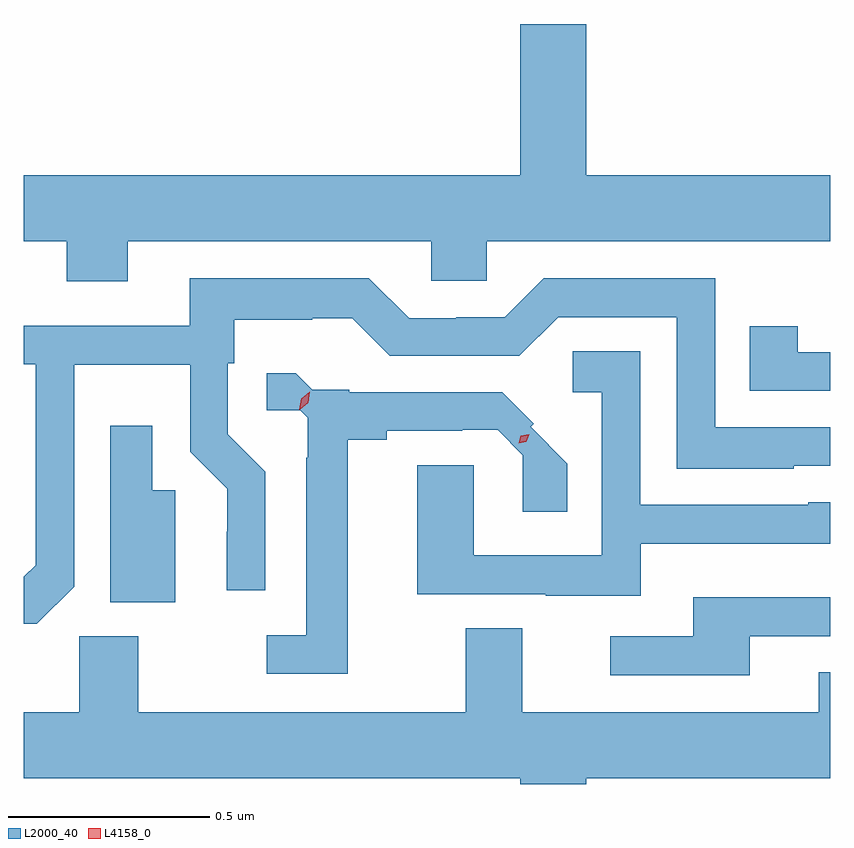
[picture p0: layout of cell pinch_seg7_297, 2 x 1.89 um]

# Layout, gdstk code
import gdstk
lib = gdstk.Library(unit=1e-6, precision=1e-09)
def P(c, l, *ps):  # polygons
    for p in ps: c.add(gdstk.Polygon(p, *l))
L2000_40 = (2000, 40)
L4158_0 = (4158, 0)

pinch_seg7_297 = lib.new_cell('pinch_seg7_297')
P(pinch_seg7_297, L2000_40, [(619.579,1057.892),(620.331,1057.892),(620.331,1057.794),(620.469,1057.794),(620.469,1057.892),(621.321,1057.892),(621.321,1058.056),(620.716,1058.056),(620.716,1058.431),(620.552,1058.431),(620.552,1058.056),(619.321,1058.056),(619.321,1057.892),(619.427,1057.892),(619.427,1057.793),(619.579,1057.793)],
  [(619.446,1057.035),(619.446,1057.586),(619.734,1057.586),(619.734,1057.37),(619.826,1057.278),(619.826,1057.172),(619.824,1057.172),(619.824,1057.026),(619.92,1057.026),(619.92,1057.32),(619.827,1057.413),(619.827,1057.59),(619.843,1057.59),(619.843,1057.697),(620.036,1057.697),(620.036,1057.701),(620.136,1057.701),(620.229,1057.608),(620.55,1057.608),(620.646,1057.704),(620.94,1057.704),(620.94,1057.328),(621.231,1057.328),(621.231,1057.335),(621.321,1057.335),(621.321,1057.431),(621.036,1057.431),(621.036,1057.8),(620.61,1057.8),(620.514,1057.704),(620.394,1057.704),(620.394,1057.701),(620.277,1057.701),(620.177,1057.801),(619.733,1057.801),(619.733,1057.683),(619.321,1057.683),(619.321,1057.587),(619.35,1057.587),(619.35,1057.089),(619.321,1057.06),(619.321,1056.943),(619.353,1056.943)],
  [(621.321,1057.617),(621.24,1057.617),(621.24,1057.681),(621.121,1057.681),(621.121,1057.521),(621.321,1057.521)],
  [(620.851,1057.142),(621.321,1057.142),(621.321,1057.245),(621.267,1057.245),(621.267,1057.239),(620.85,1057.239),(620.85,1057.619),(620.682,1057.619),(620.682,1057.518),(620.754,1057.518),(620.754,1057.113),(620.437,1057.113),(620.437,1057.337),(620.297,1057.337),(620.297,1057.017),(620.615,1057.017),(620.615,1057.013),(620.851,1057.013)],
  [(620.125,1057.4),(620.221,1057.4),(620.221,1057.422),(620.408,1057.422),(620.408,1057.425),(620.496,1057.425),(620.559,1057.362),(620.559,1057.221),(620.669,1057.221),(620.669,1057.34),(620.578,1057.432),(620.586,1057.44),(620.508,1057.518),(620.128,1057.518),(620.128,1057.524),(620.037,1057.524),(620.005,1057.555),(619.996,1057.565),(619.923,1057.565),(619.923,1057.473),(620.007,1057.473),(620.025,1057.455),(620.025,1057.355),(620.021,1057.355),(620.021,1056.915),(619.923,1056.915),(619.923,1056.819),(620.125,1056.819)],
  [(619.696,1057.275),(619.639,1057.275),(619.639,1057.435),(619.535,1057.435),(619.535,1056.997),(619.696,1056.997)],
  [(621.121,1056.912),(621.321,1056.912),(621.321,1057.009),(620.981,1057.009),(620.981,1056.912),(620.775,1056.912),(620.775,1056.816),(621.121,1056.816)],
  [(620.552,1056.546),(620.716,1056.546),(620.716,1056.56),(621.321,1056.56),(621.321,1056.823),(621.293,1056.823),(621.293,1056.724),(620.557,1056.724),(620.557,1056.932),(620.417,1056.932),(620.417,1056.724),(619.605,1056.724),(619.605,1056.912),(619.458,1056.912),(619.458,1056.724),(619.321,1056.724),(619.321,1056.56),(620.552,1056.56)])
P(pinch_seg7_297, L4158_0, [(620.548,1057.391),(620.548,1057.391),(620.554,1057.41),(620.574,1057.414),(620.574,1057.414),(620.574,1057.414),(620.567,1057.395),(620.548,1057.391)],
  [(620.004,1057.474),(620.004,1057.474),(620.009,1057.501),(620.03,1057.519),(620.03,1057.519),(620.03,1057.519),(620.026,1057.491),(620.005,1057.474)])

lib.write_gds('pinch_seg7_297.gds')
